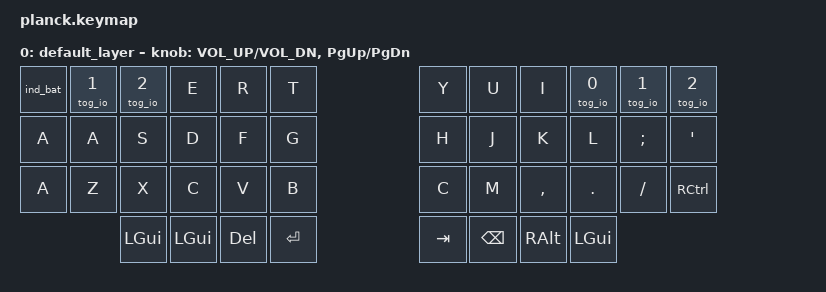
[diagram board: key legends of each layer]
#include <behaviors.dtsi>
#include <dt-bindings/zmk/ext_power.h>
#include <dt-bindings/zmk/keys.h>

#include <behaviors/toggle_io.dtsi> // for toggle behavior
#include <behaviors/on_io.dtsi> // for on behavior
#include <behaviors/off_io.dtsi> // for off behavior
#include <behaviors/rgbled_widget.dtsi>  // needed to use the behaviors
// / {
//     chosen {
//         zmk,physical-layout = &matrix_physical_layout;
//     };
// };

/ {
    keymap {
        compatible = "zmk,keymap";

        default_layer {
            // --------------------------------------------------------------------------------------------------------------------------------------------------------------------
            // |   ESC   |    Q    |    W    |    E    |    R    |    T    |                                          |    Y    |    U    |    I    |    O    |    P    |    \    |
            // |   TAB   |    A    |    S    |    D    |    F    |    G    |                                          |    H    |    J    |    K    |    L    |    ;    |    '    |
            // |  SHIFT  |    Z    |    X    |    C    |    V    |    B    | CTRL+A  | CTRL+C  |  |  CTRL+V |  CTRL+X |    N    |    M    |    ,    |    .    |    /    |  R CTRL |
            //                               |   GUI   |   DEL   | RETURN  |  SPACE  | ESCAPE  |  |  RETURN |  SPACE  |   TAB   |   BSPC  |  R ALT  |

            bindings = <
&ind_bat  &tog_io 1 &tog_io 2     &kp E     &kp R    &kp T    &kp Y    &kp U     &kp I     &tog_io 0 &tog_io 1 &tog_io 2 
&kp A              &kp A  &kp S     &kp D     &kp F    &kp G    &kp H    &kp J     &kp K      &kp L     &kp SEMI  &kp SQT
&kp A              &kp Z  &kp X     &kp C     &kp V    &kp B    &kp C    &kp M     &kp COMMA  &kp DOT   &kp FSLH  &kp RCTRL
                          &kp LGUI  &kp LGUI  &kp DEL  &kp RET  &kp TAB  &kp BSPC  &kp RALT   &kp LGUI
            >;

            sensor-bindings = <&inc_dec_kp C_VOL_UP C_VOL_DN &inc_dec_kp PG_UP PG_DN>;
        };
    };
};
